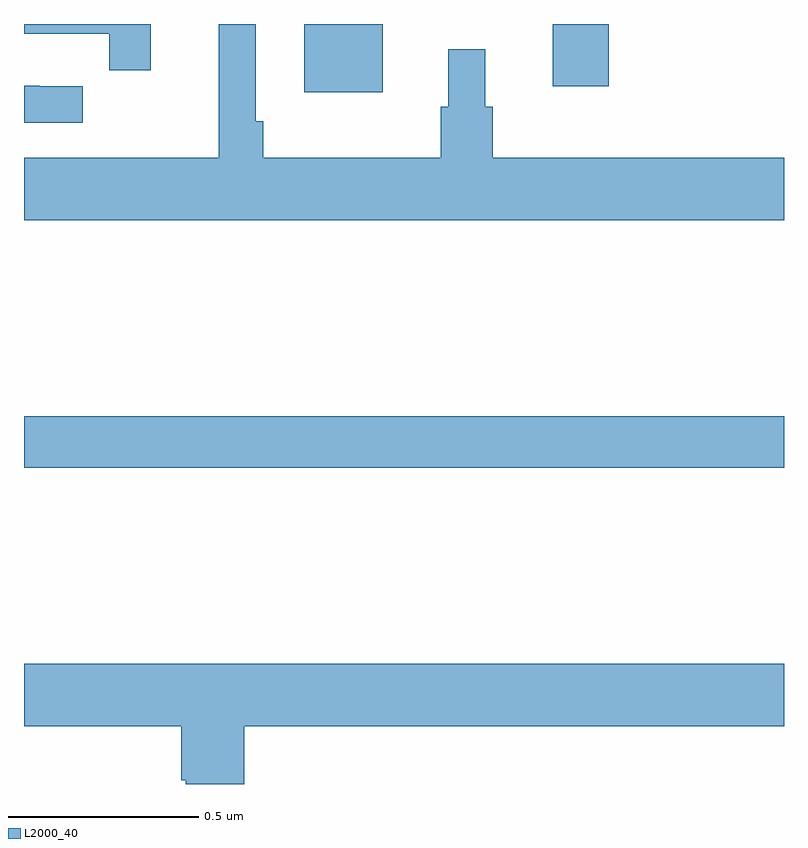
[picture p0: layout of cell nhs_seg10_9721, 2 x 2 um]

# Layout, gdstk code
import gdstk
lib = gdstk.Library(unit=1e-6, precision=1e-09)
def R(c, l, rs):  # rectangles x0, y0, x1, y1
    for r in rs: c.add(gdstk.rectangle(r[:2], r[2:], *l))
def P(c, l, *ps):  # polygons
    for p in ps: c.add(gdstk.Polygon(p, *l))
L2000_40 = (2000, 40)

nhs_seg10_9721 = lib.new_cell('nhs_seg10_9721')
R(nhs_seg10_9721, L2000_40, [(233,1298.332,235,1298.468), (233.738,1299.32,233.944,1299.5), (234.392,1299.336,234.539,1299.5)])
P(nhs_seg10_9721, L2000_40, [(235,1299.148),(234.233,1299.148),(234.233,1299.282),(234.214,1299.282),(234.214,1299.433),(234.116,1299.433),(234.116,1299.282),(234.097,1299.282),(234.097,1299.148),(233.63,1299.148),(233.63,1299.244),(233.61,1299.244),(233.61,1299.5),(233.513,1299.5),(233.513,1299.148),(233,1299.148),(233,1298.984),(235,1298.984)],
  [(233.333,1299.5),(233,1299.5),(233,1299.474),(233.224,1299.474),(233.224,1299.378),(233.333,1299.378)],
  [(233.155,1299.336),(233.042,1299.336),(233.042,1299.337),(233,1299.337),(233,1299.24),(233.155,1299.24)],
  [(233.579,1297.652),(235,1297.652),(235,1297.816),(233,1297.816),(233,1297.652),(233.414,1297.652),(233.414,1297.51),(233.426,1297.51),(233.426,1297.5),(233.579,1297.5)])

lib.write_gds('nhs_seg10_9721.gds')
